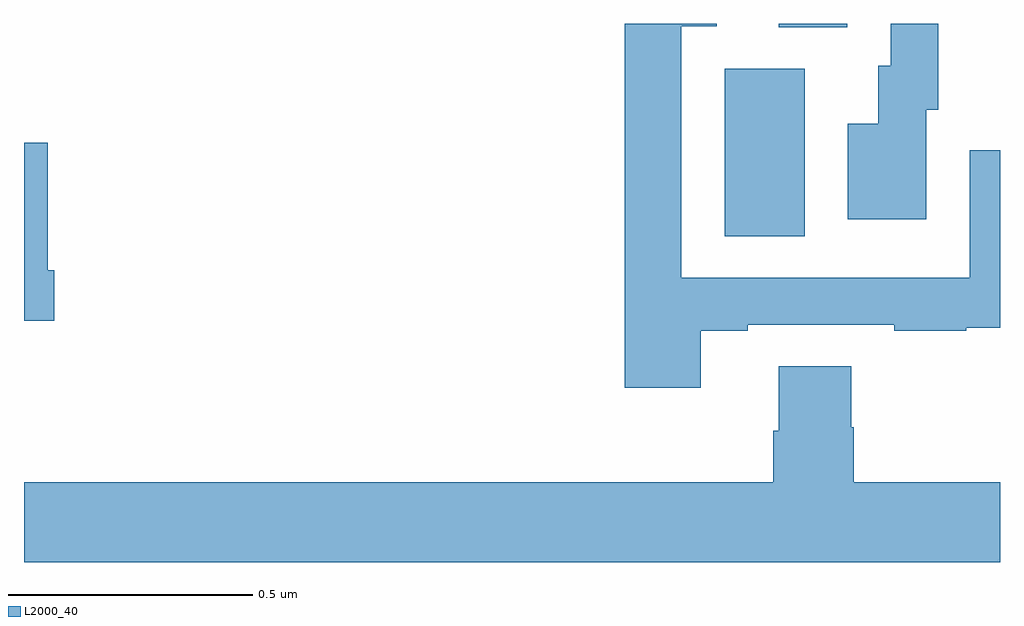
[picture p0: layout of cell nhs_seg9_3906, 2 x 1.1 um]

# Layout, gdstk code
import gdstk
lib = gdstk.Library(unit=1e-6, precision=1e-09)
def R(c, l, rs):  # rectangles x0, y0, x1, y1
    for r in rs: c.add(gdstk.rectangle(r[:2], r[2:], *l))
def P(c, l, *ps):  # polygons
    for p in ps: c.add(gdstk.Polygon(p, *l))
L2000_40 = (2000, 40)

nhs_seg9_3906 = lib.new_cell('nhs_seg9_3906')
R(nhs_seg9_3906, L2000_40, [(160.436,1221.064,160.6,1221.408), (160.547,1221.493,160.687,1221.5)])
P(nhs_seg9_3906, L2000_40, [(160.849,1221.324),(160.873,1221.324),(160.873,1221.5),(160.776,1221.5),(160.776,1221.414),(160.751,1221.414),(160.751,1221.295),(160.688,1221.295),(160.688,1221.099),(160.849,1221.099)],
  [(160.387,1220.871),(160.483,1220.871),(160.483,1220.883),(160.783,1220.883),(160.783,1220.871),(160.931,1220.871),(160.931,1220.877),(161,1220.877),(161,1221.241),(160.938,1221.241),(160.938,1220.979),(160.347,1220.979),(160.347,1221.495),(160.42,1221.495),(160.42,1221.5),(160.231,1221.5),(160.231,1220.754),(160.387,1220.754)],
  [(159.062,1220.995),(159.049,1220.995),(159.049,1221.256),(159,1221.256),(159,1220.891),(159.062,1220.891)],
  [(161,1220.56),(160.7,1220.56),(160.7,1220.673),(160.695,1220.673),(160.695,1220.798),(160.547,1220.798),(160.547,1220.666),(160.535,1220.666),(160.535,1220.56),(159,1220.56),(159,1220.396),(161,1220.396)])

lib.write_gds('nhs_seg9_3906.gds')
